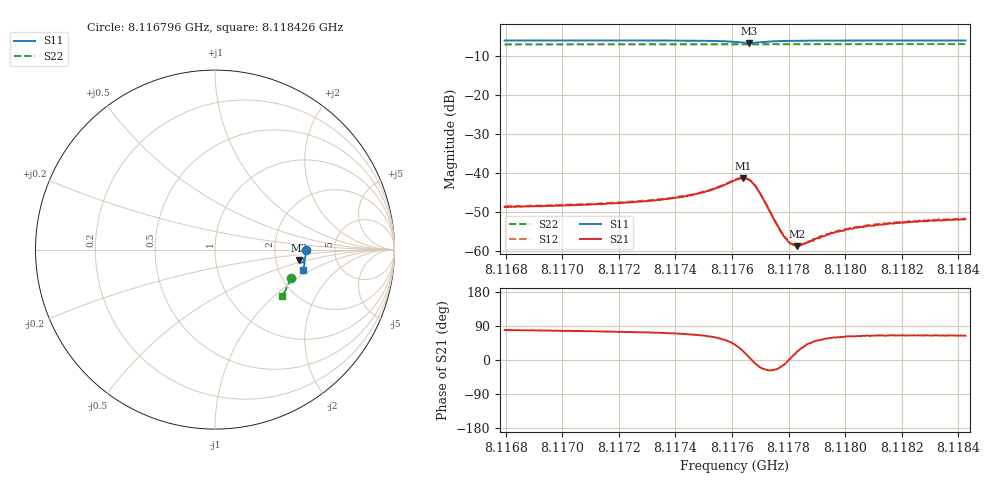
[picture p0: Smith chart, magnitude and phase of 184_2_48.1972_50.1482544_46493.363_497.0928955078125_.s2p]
#  HZ  S  RI  R  50.00
! Rohde & Schwarz Vector Network Analyzer
! Rohde-Schwarz,ZNB20-2Port,1311601062101988,3.16
! Created: UTC 3/20/2024, 11:44:15 AM
! freq[Hz]  re:S11  im:S11  re:S21  im:S21  re:S12  im:S12  re:S22  im:S22
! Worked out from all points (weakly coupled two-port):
!   401 points, 8.116796 GHz to 8.118426 GHz, reference 50 ohm
!   highest |S21| = -41.24 dB at 8.117639 GHz (marker M1); lowest = -58.7 dB at 8.117831 GHz (marker M2)
!   lowest |S11| = -6.5 dB at 8.11766 GHz (marker M3), VSWR 2.78, Z = 135 - j20.5 ohm
!   |S11| at or under -10 dB: nowhere
!   |S22| runs from -6.9 to -6.8 dB; largest |S21 - S12| = 0.00021
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8.1167958e9  0.5064 -0.00138  0.000703 0.00364  0.000737 0.0037  0.4227 -0.1557
8.1170688e9  0.5054 -0.0228  0.000926 0.00384  0.00101 0.00392  0.4163 -0.1738
8.1173418e9  0.5025 -0.0455  0.00143 0.00436  0.00153 0.00445  0.4094 -0.1916
8.1174477e9  0.4999 -0.0559  0.00198 0.00482  0.00206 0.00484  0.4063 -0.1984
8.1174925e9  0.498 -0.061  0.00239 0.00511  0.00245 0.00524  0.405 -0.2013
8.1175414e9  0.4941 -0.0669  0.00323 0.00554  0.00335 0.0056  0.4035 -0.2044
8.1176107e9  0.4798 -0.0732  0.00622 0.00529  0.00637 0.00535  0.4007 -0.2088
8.1176392e9  0.4702 -0.068  0.00795 0.00346  0.00813 0.00345  0.3995 -0.2102
8.1176596e9  0.4672 -0.0589  0.00822 0.0011  0.00838 0.00106  0.3989 -0.2109
8.1176759e9  0.4701 -0.0515  0.0073 -0.000627  0.00744 -0.000697  0.3987 -0.2118
8.1176922e9  0.4757 -0.047  0.00587 -0.00163  0.00594 -0.00169  0.3985 -0.2125
8.1177615e9  0.4938 -0.053  0.00195 -0.00084  0.00199 -0.00086  0.3973 -0.217
8.1177859e9  0.4961 -0.057  0.00149 -0.000324  0.00149 -0.00032  0.3966 -0.2187
8.1178103e9  0.4974 -0.0606  0.00126 0.000154  0.00124 0.000128  0.3959 -0.2204
8.1178307e9  0.4979 -0.0633  0.00108 0.000448  0.00114 0.000469  0.3954 -0.2216
8.1178552e9  0.4983 -0.0663  0.00101 0.000729  0.00104 0.000718  0.3945 -0.2232
8.1178837e9  0.4986 -0.0698  0.000958 0.001  0.00097 0.000987  0.3936 -0.2252
8.1179815e9  0.4982 -0.0795  0.000899 0.00156  0.000938 0.00161  0.3904 -0.2313
8.1180467e9  0.4974 -0.0853  0.000916 0.00181  0.000949 0.00185  0.3881 -0.2354
8.1181567e9  0.4959 -0.0945  0.000958 0.00206  0.00104 0.00208  0.3844 -0.2421
8.1182708e9  0.4943 -0.1035  0.00103 0.00222  0.00108 0.00225  0.3803 -0.249
8.1184256e9  0.4915 -0.1152  0.00113 0.00233  0.00115 0.00236  0.3747 -0.2582
